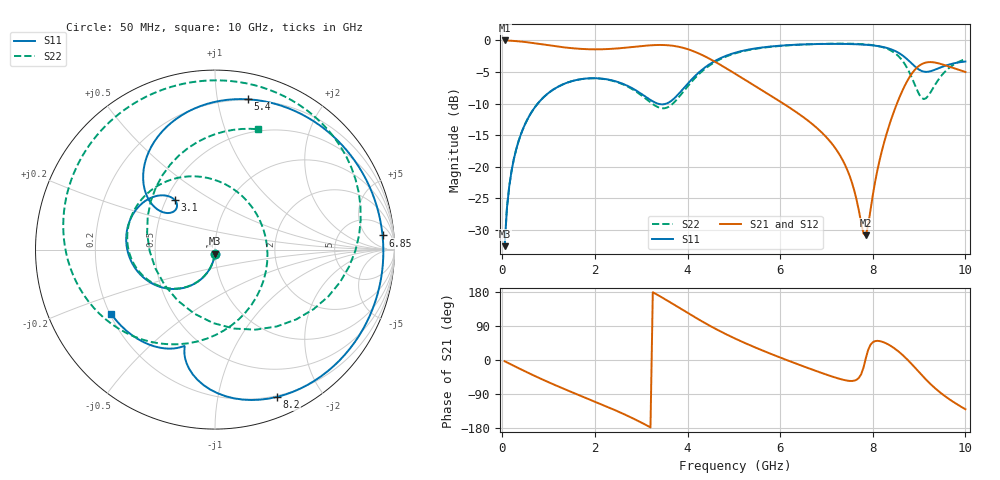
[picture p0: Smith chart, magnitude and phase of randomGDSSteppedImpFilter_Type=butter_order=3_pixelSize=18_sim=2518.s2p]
! freq	dB(S11)	phase(S11)	dB(S12)	phase(S12)
!  dB(S21)	phase(S21)	dB(S22)	phase(S22)
!S-par simulation data
#  GHz  S  DB  R 50
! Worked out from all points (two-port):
!   200 points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, 50 MHz to 10 GHz, reference 50 ohm
!   highest |S21| = -0.01 dB at 50 MHz (marker M1); lowest = -30.9 dB at 7.85 GHz (marker M2)
!   |S21| within 3 dB of the highest: start of sweep to 4.502 GHz
!   lowest |S11| = -32.6 dB at 50 MHz (marker M3), VSWR 1.05, Z = 49.8 - j2.34 ohm
!   |S11| at or under -10 dB: start of sweep to 765.9 MHz; 3.356 GHz to 3.544 GHz (188 MHz wide, 5.45 % of centre)
!   |S22| runs from -32.6 to -0.5 dB; largest |S21 - S12| = 0
!   S11 on the Smith chart (normalised r, x): 50 MHz: 1.00, -0.05; 3.1 GHz: 0.55, +0.35; 5.4 GHz: 0.19, +1.22; 6.85 GHz: 11, +15; 8.2 GHz: 0.19, -1.49; 10 GHz: 0.21, -0.28
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0.05  -32.57 -93.1  -0.01 -3.1  -0.01 -3.1  -32.57 -93.1
0.2  -20.65 -102.7  -0.06 -12.4  -0.06 -12.4  -20.65 -102.8
0.5  -13.13 -120.8  -0.26 -30.4  -0.26 -30.4  -13.13 -121.1
1.75  -6.08 174.6  -1.36 -97.3  -1.36 -97.3  -6.09 169.8
2.55  -6.72 141.6  -1.23 -138.6  -1.23 -138.6  -6.79 121.0
3.1  -8.94 129.1  -0.83 -171.3  -0.83 -171.3  -9.24 69.1
3.4  -10.09 133.7  -0.72 168.5  -0.72 168.5  -10.67 23.4
3.8  -8.53 144.9  -0.99 139.4  -0.99 139.4  -9.09 -48.9
4.25  -5.04 135.6  -2.09 106.3  -2.09 106.3  -5.30 -106.0
5.05  -1.90 95.9  -5.37 55.3  -5.37 55.3  -2.00 -167.0
5.4  -1.34 77.8  -6.95 36.3  -6.95 36.3  -1.41 173.6
6.7  -0.59 12.4  -13.28 -25.6  -13.28 -25.6  -0.59 114.2
6.85  -0.57 4.8  -14.24 -32.2  -14.24 -32.2  -0.56 107.5
7.45  -0.56 -25.7  -20.50 -54.4  -20.50 -54.4  -0.51 79.2
7.85  -0.69 -47.1  -30.88 4.6  -30.88 4.6  -0.63 56.6
8.2  -1.01 -67.3  -17.39 48.3  -17.39 48.3  -1.05 30.9
8.35  -1.29 -76.5  -13.56 40.0  -13.56 40.0  -1.45 16.8
8.6  -2.16 -92.0  -8.61 18.0  -8.61 18.0  -2.85 -14.5
8.85  -3.71 -104.1  -5.19 -12.0  -5.19 -12.0  -6.01 -63.1
9.2  -4.95 -108.0  -3.44 -57.9  -3.44 -57.9  -8.75 -179.3
9.55  -4.05 -119.5  -3.91 -94.6  -3.91 -94.6  -5.02 111.1
10  -3.34 -148.0  -5.00 -130.0  -5.00 -130.0  -2.94 70.3
